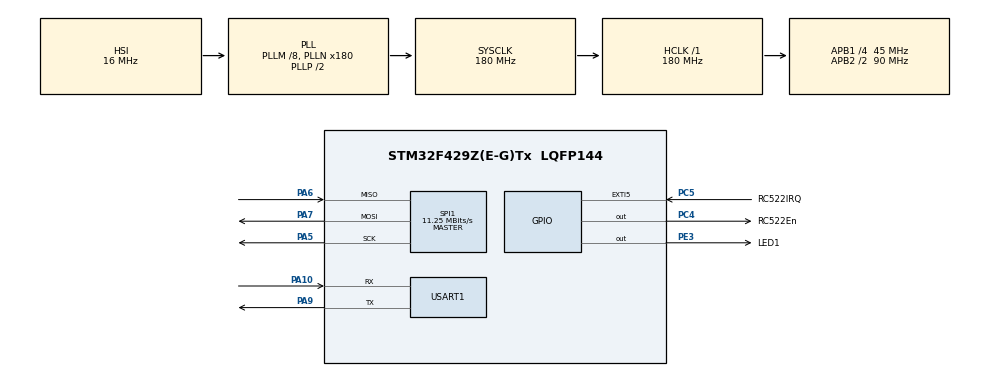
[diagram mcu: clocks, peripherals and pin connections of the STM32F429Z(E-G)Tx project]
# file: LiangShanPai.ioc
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Mcu.Family=STM32F4
Mcu.Name=STM32F429Z(E-G)Tx
Mcu.Package=LQFP144
NVIC.EXTI9_5_IRQn=true\:0\:0\:false\:false\:true\:true\:true\:true
NVIC.PriorityGroup=NVIC_PRIORITYGROUP_4
PA10.Mode=Asynchronous
PA10.Signal=USART1_RX
PA13.Mode=Serial_Wire
PA13.Signal=SYS_JTMS-SWDIO
PA14.Mode=Serial_Wire
PA14.Signal=SYS_JTCK-SWCLK
PA5.Mode=Full_Duplex_Master
PA5.Signal=SPI1_SCK
PA6.Mode=Full_Duplex_Master
PA6.Signal=SPI1_MISO
PA7.Mode=Full_Duplex_Master
PA7.Signal=SPI1_MOSI
PA9.Mode=Asynchronous
PA9.Signal=USART1_TX
PC4.GPIO_Label=RC522En
PC4.GPIO_ModeDefaultOutputPP=GPIO_MODE_OUTPUT_PP
PC4.GPIO_PuPd=GPIO_PULLDOWN
PC4.PinState=GPIO_PIN_SET
PC4.Signal=GPIO_Output
PC5.GPIO_Label=RC522IRQ
PC5.GPIO_ModeDefaultEXTI=GPIO_MODE_IT_FALLING
PC5.Signal=GPXTI5
PE3.GPIO_Label=LED1
PE3.GPIO_PuPd=GPIO_PULLDOWN
PE3.PinState=GPIO_PIN_RESET
PE3.Signal=GPIO_Output
PH0/OSC_IN.Mode=HSE-External-Oscillator
PH0/OSC_IN.Signal=RCC_OSC_IN
PH1/OSC_OUT.Mode=HSE-External-Oscillator
PH1/OSC_OUT.Signal=RCC_OSC_OUT
ProjectManager.HeapSize=0x200
ProjectManager.StackSize=0x400
ProjectManager.TargetToolchain=STM32CubeIDE
RCC.48MHZClocksFreq_Value=90000000
RCC.AHBFreq_Value=180000000
RCC.APB1CLKDivider=RCC_HCLK_DIV4
RCC.APB1Freq_Value=45000000
RCC.APB1TimFreq_Value=90000000
RCC.APB2CLKDivider=RCC_HCLK_DIV2
RCC.APB2Freq_Value=90000000
RCC.APB2TimFreq_Value=180000000
RCC.CortexFreq_Value=180000000
RCC.HCLKFreq_Value=180000000
RCC.HSE_VALUE=25000000
RCC.HSI_VALUE=16000000
RCC.LSE_VALUE=32768
RCC.PLLM=8
RCC.PLLN=180
RCC.SYSCLKFreq_VALUE=180000000
RCC.SYSCLKSource=RCC_SYSCLKSOURCE_PLLCLK
RCC.VCOOutputFreq_Value=360000000
SPI1.BaudRatePrescaler=SPI_BAUDRATEPRESCALER_8
SPI1.CalculateBaudRate=11.25 MBits/s
SPI1.Direction=SPI_DIRECTION_2LINES
SPI1.Mode=SPI_MODE_MASTER
SPI1.VirtualType=VM_MASTER
USART1.VirtualMode=VM_ASYNC
board=custom

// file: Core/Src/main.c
/* USER CODE BEGIN Header */
/**
  ******************************************************************************
  * @file           : main.c
  * @brief          : Main program body
  ******************************************************************************
  * @attention
  *
  * Copyright (c) 2023 STMicroelectronics.
  * All rights reserved.
  *
  * This software is licensed under terms that can be found in the LICENSE file
  * in the root directory of this software component.
  * If no LICENSE file comes with this software, it is provided AS-IS.
  *
  ******************************************************************************
  */
/* USER CODE END Header */
#include "main.h"
#include "spi.h"
#include "usart.h"
#include "gpio.h"

/* USER CODE BEGIN Includes */

#include "driver/driver_mfrc522_interface.h"
#include "driver/driver_mfrc522_basic.h"
#include "test/driver_mfrc522_register_test.h"
#include "test/driver_mfrc522_mifare_test.h"

/* USER CODE END Includes */

void SystemClock_Config(void);

int main(void) {

    /* MCU Configuration--------------------------------------------------------*/

    /* Reset of all peripherals, Initializes the Flash interface and the Systick. */
    HAL_Init();

    /* Configure the system clock */
    SystemClock_Config();

    /* Initialize all configured peripherals */
    MX_GPIO_Init();
    MX_USART1_UART_Init();
    MX_SPI1_Init();
    /* USER CODE BEGIN 2 */
    // set global log level
    Log_Set_Level(LOG_DEBUG);

    mfrc522_basic_init(MFRC522_INTERFACE_SPI, 0, mfrc522_interface_receive_callback);
    /* USER CODE END 2 */

    /* Infinite loop */
    while (1) {

        /* USER CODE BEGIN 3 */
        uint8_t in_buf[8] = {0};
        uint8_t out_buf[64] = {0};
        uint8_t out_len = 64;
        uint16_t type = 0;
        in_buf[0] = 0x26;
        in_buf[1] = 0x20;
        HAL_Delay(2000);
        mfrc522_basic_transceiver(in_buf, 1, out_buf, &out_len);

        type = (uint16_t)out_buf[0] << 8 | out_buf[1];
        if (type == 0x4400)
        {
            mfrc522_interface_debug_print("mfrc522: find mifare ultralight.\n");
        }
        else if (type == 0x0400)
        {
            mfrc522_interface_debug_print("mfrc522: find mifare S50.\n");
        }
        else if (type == 0x0200)
        {
            mfrc522_interface_debug_print("mfrc522: find mifare S70.\n");
        }
        else if (type == 0x0800)
        {
            mfrc522_interface_debug_print("mfrc522: find mifare pro(x).\n");
        }
        else if (type == 0x4403)
        {
            mfrc522_interface_debug_print("mfrc522: find mifare desfire.\n");
        }
        else
        {
            mfrc522_interface_debug_print("mfrc522: unknown type.\n");
        }
//        mfrc522_basic_transceiver()
//        mfrc522_interface_debug_print("hello xjh!");
    }
    /* USER CODE END 3 */
}

void SystemClock_Config(void) {
    RCC_OscInitTypeDef RCC_OscInitStruct = {0};
    RCC_ClkInitTypeDef RCC_ClkInitStruct = {0};

    /** Configure the main internal regulator output voltage
    */
    __HAL_RCC_PWR_CLK_ENABLE();
    __HAL_PWR_VOLTAGESCALING_CONFIG(PWR_REGULATOR_VOLTAGE_SCALE1);

    /** Initializes the RCC Oscillators according to the specified parameters
    * in the RCC_OscInitTypeDef structure.
    */
    RCC_OscInitStruct.OscillatorType = RCC_OSCILLATORTYPE_HSI;
    RCC_OscInitStruct.HSIState = RCC_HSI_ON;
    RCC_OscInitStruct.HSICalibrationValue = RCC_HSICALIBRATION_DEFAULT;
    RCC_OscInitStruct.PLL.PLLState = RCC_PLL_ON;
    RCC_OscInitStruct.PLL.PLLSource = RCC_PLLSOURCE_HSI;
    RCC_OscInitStruct.PLL.PLLM = 8;
    RCC_OscInitStruct.PLL.PLLN = 180;
    RCC_OscInitStruct.PLL.PLLP = RCC_PLLP_DIV2;
    RCC_OscInitStruct.PLL.PLLQ = 4;
    if (HAL_RCC_OscConfig(&RCC_OscInitStruct) != HAL_OK) {
        Error_Handler();
    }

    /** Activate the Over-Drive mode
    */
    if (HAL_PWREx_EnableOverDrive() != HAL_OK) {
        Error_Handler();
    }

    /** Initializes the CPU, AHB and APB buses clocks
    */
    RCC_ClkInitStruct.ClockType = RCC_CLOCKTYPE_HCLK | RCC_CLOCKTYPE_SYSCLK
                                  | RCC_CLOCKTYPE_PCLK1 | RCC_CLOCKTYPE_PCLK2;
    RCC_ClkInitStruct.SYSCLKSource = RCC_SYSCLKSOURCE_PLLCLK;
    RCC_ClkInitStruct.AHBCLKDivider = RCC_SYSCLK_DIV1;
    RCC_ClkInitStruct.APB1CLKDivider = RCC_HCLK_DIV4;
    RCC_ClkInitStruct.APB2CLKDivider = RCC_HCLK_DIV2;

    if (HAL_RCC_ClockConfig(&RCC_ClkInitStruct, FLASH_LATENCY_5) != HAL_OK) {
        Error_Handler();
    }
}

void Error_Handler(void) {
    __disable_irq();
    while (1) {
    }
}
